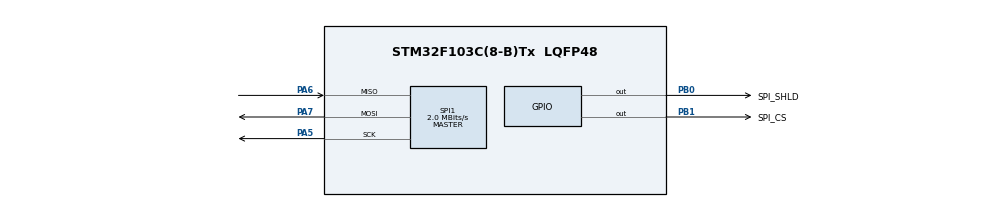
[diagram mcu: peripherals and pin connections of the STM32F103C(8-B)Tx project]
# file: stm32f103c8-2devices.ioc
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Mcu.Family=STM32F1
Mcu.Name=STM32F103C(8-B)Tx
Mcu.Package=LQFP48
NVIC.PriorityGroup=NVIC_PRIORITYGROUP_4
PA13.Mode=Serial_Wire
PA13.Signal=SYS_JTMS-SWDIO
PA14.Mode=Serial_Wire
PA14.Signal=SYS_JTCK-SWCLK
PA5.Mode=Full_Duplex_Master
PA5.Signal=SPI1_SCK
PA6.Mode=Full_Duplex_Master
PA6.Signal=SPI1_MISO
PA7.Mode=Full_Duplex_Master
PA7.Signal=SPI1_MOSI
PB0.GPIO_Label=SPI_SHLD
PB0.GPIO_Speed=GPIO_SPEED_FREQ_HIGH
PB0.PinState=GPIO_PIN_SET
PB0.Signal=GPIO_Output
PB1.GPIO_Label=SPI_CS
PB1.GPIO_Speed=GPIO_SPEED_FREQ_HIGH
PB1.PinState=GPIO_PIN_SET
PB1.Signal=GPIO_Output
ProjectManager.HeapSize=0x200
ProjectManager.StackSize=0x400
ProjectManager.TargetToolchain=STM32CubeIDE
RCC.APB1Freq_Value=8000000
RCC.APB2Freq_Value=8000000
SPI1.BaudRatePrescaler=SPI_BAUDRATEPRESCALER_4
SPI1.CLKPhase=SPI_PHASE_2EDGE
SPI1.CLKPolarity=SPI_POLARITY_HIGH
SPI1.CalculateBaudRate=2.0 MBits/s
SPI1.Direction=SPI_DIRECTION_2LINES
SPI1.Mode=SPI_MODE_MASTER
SPI1.VirtualType=VM_MASTER
board=custom

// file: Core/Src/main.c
/* USER CODE BEGIN Header */
/**
  ******************************************************************************
  * @file           : main.c
  * @brief          : Main program body
  ******************************************************************************
  * @attention
  *
  * Copyright (c) 2024 STMicroelectronics.
  * All rights reserved.
  *
  * This software is licensed under terms that can be found in the LICENSE file
  * in the root directory of this software component.
  * If no LICENSE file comes with this software, it is provided AS-IS.
  *
  ******************************************************************************
  */
/* USER CODE END Header */
#include "main.h"

/* USER CODE BEGIN Includes */
#include "l74xx165.h"
/* USER CODE END Includes */

SPI_HandleTypeDef hspi1;

/* USER CODE BEGIN PV */
l74xx165_t L74xx165 = {0};
uint8_t L74XX165_IDX0, L74XX165_IDX1;
/* USER CODE END PV */

void SystemClock_Config(void);
static void MX_GPIO_Init(void);
static void MX_SPI1_Init(void);

/* USER CODE BEGIN 0 */
void l74xx165_Cs(bool Sig){
	HAL_GPIO_WritePin(SPI_CS_GPIO_Port, SPI_CS_Pin, (GPIO_PinState)Sig);
}

void l74xx165_Load(bool Sig){
	HAL_GPIO_WritePin(SPI_SHLD_GPIO_Port, SPI_SHLD_Pin, (GPIO_PinState)Sig);
}

uint8_t l74xx165_read_spi(uint8_t *buffer, uint8_t bytes){
	return (uint8_t)HAL_SPI_Receive(&hspi1, buffer, bytes, 100);
}
/* USER CODE END 0 */

int main(void)
{

  /* USER CODE BEGIN 1 */
	l74xx165_params_t l74xx165Params = {
			.u8NumberOfDevices = 2,
			.pu8ExtBuffer = NULL,
			.fxnGpioCS = l74xx165_Cs,
			.fxnGpioLoad = l74xx165_Load,
			.fxnSpiReceived = l74xx165_read_spi
	};
  /* USER CODE END 1 */

  /* MCU Configuration--------------------------------------------------------*/

  /* Reset of all peripherals, Initializes the Flash interface and the Systick. */
  HAL_Init();

  /* Configure the system clock */
  SystemClock_Config();

  /* Initialize all configured peripherals */
  MX_GPIO_Init();
  MX_SPI1_Init();
  /* USER CODE BEGIN 2 */
  l74xx165_init(&L74xx165, &l74xx165Params);
  /* USER CODE END 2 */

  /* Infinite loop */
  /* USER CODE BEGIN WHILE */
  while (1)
  {
	  l74xx165_read_byte(&L74xx165, 0, &L74XX165_IDX0);
	  l74xx165_read_byte(&L74xx165, 1, &L74XX165_IDX1);
	  HAL_Delay(250);
    /* USER CODE END WHILE */

  }
}

void SystemClock_Config(void)
{
  RCC_OscInitTypeDef RCC_OscInitStruct = {0};
  RCC_ClkInitTypeDef RCC_ClkInitStruct = {0};

  /** Initializes the RCC Oscillators according to the specified parameters
  * in the RCC_OscInitTypeDef structure.
  */
  RCC_OscInitStruct.OscillatorType = RCC_OSCILLATORTYPE_HSI;
  RCC_OscInitStruct.HSIState = RCC_HSI_ON;
  RCC_OscInitStruct.HSICalibrationValue = RCC_HSICALIBRATION_DEFAULT;
  RCC_OscInitStruct.PLL.PLLState = RCC_PLL_NONE;
  if (HAL_RCC_OscConfig(&RCC_OscInitStruct) != HAL_OK)
  {
    Error_Handler();
  }

  /** Initializes the CPU, AHB and APB buses clocks
  */
  RCC_ClkInitStruct.ClockType = RCC_CLOCKTYPE_HCLK|RCC_CLOCKTYPE_SYSCLK
                              |RCC_CLOCKTYPE_PCLK1|RCC_CLOCKTYPE_PCLK2;
  RCC_ClkInitStruct.SYSCLKSource = RCC_SYSCLKSOURCE_HSI;
  RCC_ClkInitStruct.AHBCLKDivider = RCC_SYSCLK_DIV1;
  RCC_ClkInitStruct.APB1CLKDivider = RCC_HCLK_DIV1;
  RCC_ClkInitStruct.APB2CLKDivider = RCC_HCLK_DIV1;

  if (HAL_RCC_ClockConfig(&RCC_ClkInitStruct, FLASH_LATENCY_0) != HAL_OK)
  {
    Error_Handler();
  }
}

static void MX_SPI1_Init(void)
{

  /* SPI1 parameter configuration*/
  hspi1.Instance = SPI1;
  hspi1.Init.Mode = SPI_MODE_MASTER;
  hspi1.Init.Direction = SPI_DIRECTION_2LINES;
  hspi1.Init.DataSize = SPI_DATASIZE_8BIT;
  hspi1.Init.CLKPolarity = SPI_POLARITY_HIGH;
  hspi1.Init.CLKPhase = SPI_PHASE_2EDGE;
  hspi1.Init.NSS = SPI_NSS_SOFT;
  hspi1.Init.BaudRatePrescaler = SPI_BAUDRATEPRESCALER_4;
  hspi1.Init.FirstBit = SPI_FIRSTBIT_MSB;
  hspi1.Init.TIMode = SPI_TIMODE_DISABLE;
  hspi1.Init.CRCCalculation = SPI_CRCCALCULATION_DISABLE;
  hspi1.Init.CRCPolynomial = 10;
  if (HAL_SPI_Init(&hspi1) != HAL_OK)
  {
    Error_Handler();
  }

}

static void MX_GPIO_Init(void)
{
  GPIO_InitTypeDef GPIO_InitStruct = {0};

  /* GPIO Ports Clock Enable */
  __HAL_RCC_GPIOA_CLK_ENABLE();
  __HAL_RCC_GPIOB_CLK_ENABLE();

  /*Configure GPIO pin Output Level */
  HAL_GPIO_WritePin(GPIOB, SPI_SHLD_Pin|SPI_CS_Pin, GPIO_PIN_SET);

  /*Configure GPIO pins : SPI_SHLD_Pin SPI_CS_Pin */
  GPIO_InitStruct.Pin = SPI_SHLD_Pin|SPI_CS_Pin;
  GPIO_InitStruct.Mode = GPIO_MODE_OUTPUT_PP;
  GPIO_InitStruct.Pull = GPIO_NOPULL;
  GPIO_InitStruct.Speed = GPIO_SPEED_FREQ_HIGH;
  HAL_GPIO_Init(GPIOB, &GPIO_InitStruct);

}

void Error_Handler(void)
{
  __disable_irq();
  while (1)
  {
  }
}
